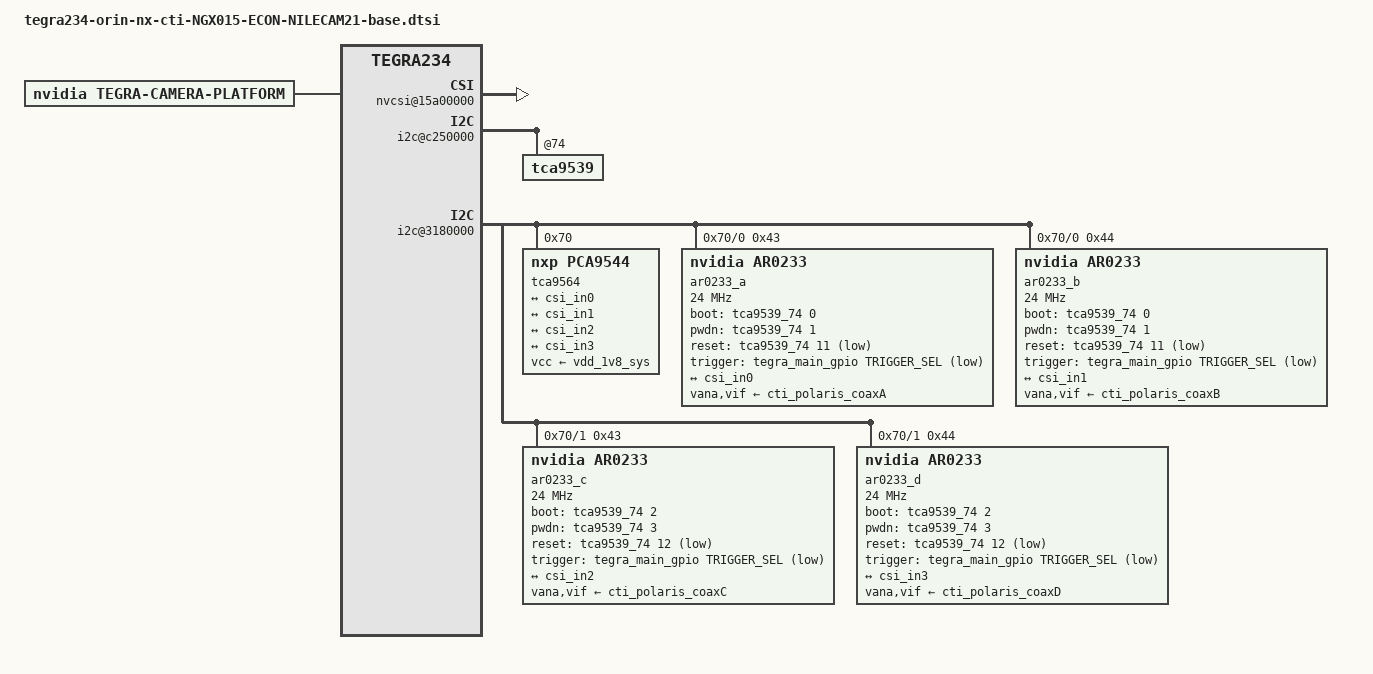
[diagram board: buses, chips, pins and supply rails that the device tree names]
/*
 * Copyright (c) 2022, Connect Tech Inc.  All rights reserved.
 *
 * This program is free software; you can redistribute it and/or modify it
 * under the terms and conditions of the GNU General Public License,
 * version 2, as published by the Free Software Foundation.
 *
 * This program is distributed in the hope it will be useful, but WITHOUT
 * ANY WARRANTY; without even the implied warranty of MERCHANTABILITY or
 * FITNESS FOR A PARTICULAR PURPOSE.  See the GNU General Public License for
 * more details.
 *
 * You should have received a copy of the GNU General Public License
 * along with this program.  If not, see <http://www.gnu.org/licenses/>.
 */

#include "dt-bindings/clock/tegra234-clock.h"

#define CAM_LANES 2
#define CAM_LANES_STRING "2"
 #define TRIGGER_SEL TEGRA234_MAIN_GPIO(I,0) //CAM0_RST

#define VC_ID0 "0"
#define VC_ID1 "1"
#define VC_ID0_PORTS 0 
#define VC_ID1_PORTS 1
/ {

    tegra-capture-vi {
        status = "okay";
        num-channels = <4>;
        ports {
	    #address-cells = <1>;
	    #size-cells = <0>;
	    status = "okay";
            port@0 {
		reg = <0>;
                status = "okay";
                vi_in0: endpoint {
		            vc-id = <VC_ID0_PORTS>;
                    port-index = <0>;
                    status = "okay";
                    bus-width = <4>;
		    remote-endpoint = <&csi_out0>;
                };
            };
            port@1 {
                status = "okay";
                reg = <1>;
                vi_in1: endpoint {
                    vc-id = <VC_ID1_PORTS>;
                    port-index = <0>;
                    status = "okay";
                    bus-width = <4>;
                    remote-endpoint = <&csi_out1>;
                };
            };
            port@2 {
                status = "okay";
                reg = <2>;
                vi_in2: endpoint {
                    vc-id = <VC_ID0_PORTS>;
                    port-index = <2>;
                    status = "okay";
                    bus-width = <4>;
                    remote-endpoint = <&csi_out2>;
                };
                
            };
            port@3 {
                status = "okay";
                reg = <3>;
                vi_in3: endpoint {
                    vc-id = <VC_ID1_PORTS>;
                    port-index = <2>;
                    status = "okay";
                    bus-width = <4>;
                    remote-endpoint = <&csi_out3>;
                };

            };


    };
    };

    host1x@13e00000 {
        nvcsi@15a00000 {
	    num-channels = <4>;
	    #address-cells = <1>;
	    #size-cells = <0>;
            status = "okay";
            channel@0 {
                status = "okay";
		        reg = <0>;
                ports {
		            #address-cells = <1>;
		            #size-cells = <0>;
                    port@0 {
                        status = "okay";
		            	reg = <0>;
                        csi_in0: endpoint@0 {
                            status = "okay";
                            port-index = <0>;
			                bus-width = <4>;
                            remote-endpoint = <&cam_out0>;
                        };
                    };
                    port@1 {
                        status = "okay";
		            	reg = <1>;
                        csi_out0: endpoint@1 {
                            status = "okay";
			                port-index = <0>;
			                bus-width = <4>;
			                remote-endpoint = <&vi_in0>;
                        };
                    };
                };
            };
            channel@1 {
                status = "okay";
            reg = <1>;
            ports {
                #address-cells = <1>;
                #size-cells = <0>;

                port@0 {
                            reg = <0>;
                            status = "okay";
                            csi_in1: endpoint@2 {
                                status = "okay";
                                port-index = <0>;
                                bus-width = <4>;
                                remote-endpoint = <&cam_out1>;
                            };
                        };
                        port@1 {
                            status = "okay";
                              reg = <1>;
                            csi_out1: endpoint@3 {
                                status = "okay";
                    port-index = <0>;
                    bus-width = <4>;
                    remote-endpoint = <&vi_in1>;
                            };
                        };
                    };
                };
            channel@2 {
                status = "okay";
            reg = <2>;
            ports {
                #address-cells = <1>;
                #size-cells = <0>;

                port@0 {
                            reg = <0>;
                            status = "okay";
                            csi_in2: endpoint@4 {
                                status = "okay";
                                port-index = <2>;
                                bus-width = <4>;
                                remote-endpoint = <&cam_out2>;
                            };
                        };
                        port@1 {
                            status = "okay";
                              reg = <1>;
                            csi_out2: endpoint@5 {
                                status = "okay";
                    port-index = <2>;
                    bus-width = <4>;
                    remote-endpoint = <&vi_in2>;
                            };
                        };
                    };
                };
            channel@3{
                status = "okay";
            reg = <3>;
            ports {
                #address-cells = <1>;
                #size-cells = <0>;

                port@0 {
                            reg = <0>;
                            status = "okay";
                            csi_in3: endpoint@6 {
                                status = "okay";
                                port-index = <2>;
                                bus-width = <4>;
                                remote-endpoint = <&cam_out3>;
                            };
                        };
                        port@1 {
                            status = "okay";
                              reg = <1>;
                            csi_out3: endpoint@7 {
                                status = "okay";
                    port-index = <2>;
                    bus-width = <4>;
                    remote-endpoint = <&vi_in3>;
                            };
                        };
                    };
                };

            };
    };
    i2c@c250000 {

        tca9539@74 {
            tca9539_74_outlow {
                status = "okay";
                gpio-hog;
                gpios = <0 0 1 0 2 0 3 0 4 0 9 0 10 0>;
                output-low;
                gpio-line-names = "RST_A","PWDN_A","RST_B","PWDN_B","TEMP_SNS_PEN", "CFG_CTRL_Nch", "CFG_CTRL_Pch";
            };
            tca9539_74_outhigh {
                status = "okay";
                gpio-hog;
                gpios = < 5 0 6 0 7 0 8 0 11 0 12 0>;
                output-high;
                gpio-line-names = "CAM_PRST#_A","CAM_PRST#_B","CAM_PRST#_C", "CAM_PRST#_D","DES_STATE_RSTA", "DES_STATE_RSTB";
            };
            tca9539_74_input {
                status = "disabled";
            };

        };
    };
    i2c@3180000 {
	status = "okay";
	#address-cells = <1>;
	#size-cells = <0>;
        tca9564@70 {
	    status = "okay";
	    compatible = "nxp,pca9544";
	    reg = <0x70>;
	    #address-cells = <1>;
	    #size-cells = <0>;
	    vcc-supply = <&vdd_1v8_sys>;
	    //skip_mux_detect;
	    force_bus_start = <0x28>;
       i2c@0 {
        status = "okay";
		reg = <0>;
		i2c-mux,deselect-on-exit;
		#address-cells = <1>;
		#size-cells = <0>;
		ar0233_a@43 {
			status = "okay";
			compatible = "nvidia,ar0233";
			reg = <0x43>;
			sensor_model = "ar0233";
			avdd-reg = "vana";
			iovdd-reg = "vif";
			clocks = <&bpmp_clks TEGRA234_CLK_EXTPERIPH1>,<&bpmp_clks TEGRA234_CLK_EXTPERIPH1>;
			clock-names = "extperiph1","pllp_grtba";
			mclk = "extperiph1";
			clock-frequency = <24000000>;
			boot-gpios = <&tca9539_74 0 GPIO_ACTIVE_HIGH>;
			pwdn-gpios = <&tca9539_74 1 GPIO_ACTIVE_HIGH>;
			reset-gpios = <&tca9539_74 11 GPIO_ACTIVE_LOW>;
            trigger-gpios = <&tegra_main_gpio TRIGGER_SEL GPIO_ACTIVE_LOW>;
			default-trigger = "internal";
			vana-supply = <&cti_polaris_coaxA>;
			vif-supply = <&cti_polaris_coaxA>;
			devnode = "video0";
			
			use_sensor_mode_id = "false";
			camera_mipi_lanes = <2>;
			camera-mipi-clk = <1200>;
			sio-port = "A";
			/*pwm-invert = <1>;
			pwm-duty_ns = <0x1CBC720>;
			pwm-period_ns = <0x2037FE7>;
			pwm-calib-gpio = <&tegra_main_gpio PWM_CALIB_GPIO GPIO_ACTIVE_HIGH>;
			pwm-name = "ecam-trigger";*/

#define LOCAL_VC_ID VC_ID0
#define TEGRA_SINTERFACE "serial_a"
#define LANE_POLARITY "6" //6
#include "nilecam21_cuxvr_mode.dtsi"


			ports {
				#address-cells = <1>;
				#size-cells = <0>;
				
				port@0 {
					reg = <0>;
					cam_out0: endpoint {
						status = "okay";
						vc-id = <VC_ID0_PORTS>;
						port-index = <0>;
						bus-width = <4>;
						remote-endpoint = <&csi_in0>;
					};
				};
			};	
		};

		ar0233_b@44 {
			status = "okay";
			compatible = "nvidia,ar0233";
			reg = <0x44>;
			sensor_model = "ar0233";
			avdd-reg = "vana";
			iovdd-reg = "vif";
			clocks = <&bpmp_clks TEGRA234_CLK_EXTPERIPH1>,<&bpmp_clks TEGRA234_CLK_EXTPERIPH1>;
			clock-names = "extperiph1","pllp_grtba";
			mclk = "extperiph1";
			clock-frequency = <24000000>;
			boot-gpios = <&tca9539_74 0 GPIO_ACTIVE_HIGH>;
			pwdn-gpios = <&tca9539_74 1 GPIO_ACTIVE_HIGH>;
			reset-gpios = <&tca9539_74 11 GPIO_ACTIVE_LOW>;
            trigger-gpios = <&tegra_main_gpio TRIGGER_SEL GPIO_ACTIVE_LOW>;
			default-trigger = "internal";
			vana-supply = <&cti_polaris_coaxB>;
			vif-supply = <&cti_polaris_coaxB>;
			devnode = "video1";
			
			use_sensor_mode_id = "false";
			camera_mipi_lanes = <2>;
			camera-mipi-clk = <1200>;
			sio-port = "B";
			/*pwm-invert = <1>;
			pwm-duty_ns = <0x1CBC720>;
			pwm-period_ns = <0x2037FE7>;
			pwm-calib-gpio = <&tegra_main_gpio PWM_CALIB_GPIO GPIO_ACTIVE_HIGH>;
			pwm-name = "ecam-trigger";*/
#undef TEGRA_SINTERFACE
#undef LOCAL_VC_ID
#undef LANE_POLARITY
#define LOCAL_VC_ID VC_ID1
#define TEGRA_SINTERFACE "serial_a"
#define LANE_POLARITY "6" 
#include "nilecam21_cuxvr_mode.dtsi"


			ports {
				#address-cells = <1>;
				#size-cells = <0>;
				
				port@0 {
					reg = <0>;
					cam_out1: endpoint {
						status = "okay";
						vc-id = <VC_ID1_PORTS>;
						port-index = <0>;
						bus-width = <4>;
						remote-endpoint = <&csi_in1>;
					};
				};
			};	
		};
            };

       i2c@1 {
        status = "okay";
		reg = <1>;
		i2c-mux,deselect-on-exit;
		#address-cells = <1>;
		#size-cells = <0>;
		ar0233_c@43 {
			status = "okay";
			compatible = "nvidia,ar0233";
			reg = <0x43>;
			sensor_model = "ar0233";
			avdd-reg = "vana";
			iovdd-reg = "vif";
			clocks = <&bpmp_clks TEGRA234_CLK_EXTPERIPH1>,<&bpmp_clks TEGRA234_CLK_EXTPERIPH1>;
			clock-names = "extperiph1","pllp_grtba";
			mclk = "extperiph1";
			clock-frequency = <24000000>;
			boot-gpios = <&tca9539_74 2 GPIO_ACTIVE_HIGH>;
			pwdn-gpios = <&tca9539_74 3 GPIO_ACTIVE_HIGH>;
			reset-gpios = <&tca9539_74 12 GPIO_ACTIVE_LOW>;
            trigger-gpios = <&tegra_main_gpio TRIGGER_SEL GPIO_ACTIVE_LOW>;
			default-trigger = "internal";
			vana-supply = <&cti_polaris_coaxC>;
			vif-supply = <&cti_polaris_coaxC>;
			devnode = "video2";
			
			use_sensor_mode_id = "false";
			camera_mipi_lanes = <2>;
			camera-mipi-clk = <1200>;
			sio-port = "A";
			/*pwm-invert = <1>;
			pwm-duty_ns = <0x1CBC720>;
			pwm-period_ns = <0x2037FE7>;
			pwm-calib-gpio = <&tegra_main_gpio PWM_CALIB_GPIO GPIO_ACTIVE_HIGH>;
			pwm-name = "ecam-trigger";*/
#undef TEGRA_SINTERFACE
#undef LOCAL_VC_ID
#undef LANE_POLARITY
#define LOCAL_VC_ID VC_ID0
#define TEGRA_SINTERFACE "serial_c"
#define LANE_POLARITY "0" 
#include "nilecam21_cuxvr_mode.dtsi"


			ports {
				#address-cells = <1>;
				#size-cells = <0>;
				
				port@0 {
					reg = <0>;
					cam_out2: endpoint {
						status = "okay";
						vc-id = <VC_ID0_PORTS>;
						port-index = <2>;
						bus-width = <4>;
						remote-endpoint = <&csi_in2>;
					};
				};
			};	
		};

		ar0233_d@44 {
			status = "okay";
			compatible = "nvidia,ar0233";
			reg = <0x44>;
			sensor_model = "ar0233";
			avdd-reg = "vana";
			iovdd-reg = "vif";
			clocks = <&bpmp_clks TEGRA234_CLK_EXTPERIPH1>,<&bpmp_clks TEGRA234_CLK_EXTPERIPH1>;
			clock-names = "extperiph1","pllp_grtba";
			mclk = "extperiph1";
			clock-frequency = <24000000>;
			boot-gpios = <&tca9539_74 2 GPIO_ACTIVE_HIGH>;
			pwdn-gpios = <&tca9539_74 3 GPIO_ACTIVE_HIGH>;
			reset-gpios = <&tca9539_74 12 GPIO_ACTIVE_LOW>;
            trigger-gpios = <&tegra_main_gpio TRIGGER_SEL GPIO_ACTIVE_LOW>;
			default-trigger = "internal";
			vana-supply = <&cti_polaris_coaxD>;
			vif-supply = <&cti_polaris_coaxD>;
			devnode = "video3";
			
			use_sensor_mode_id = "false";
			camera_mipi_lanes = <2>;
			camera-mipi-clk = <1200>;
			sio-port = "B";
			/*pwm-invert = <1>;
			pwm-duty_ns = <0x1CBC720>;
			pwm-period_ns = <0x2037FE7>;
			pwm-calib-gpio = <&tegra_main_gpio PWM_CALIB_GPIO GPIO_ACTIVE_HIGH>;
			pwm-name = "ecam-trigger";*/
#undef TEGRA_SINTERFACE
#undef LOCAL_VC_ID
#undef LANE_POLARITY
#define LOCAL_VC_ID VC_ID1
#define TEGRA_SINTERFACE "serial_c"
#define LANE_POLARITY "0" 
#include "nilecam21_cuxvr_mode.dtsi"


			ports {
				#address-cells = <1>;
				#size-cells = <0>;
				
				port@0 {
					reg = <0>;
					cam_out3: endpoint {
						status = "okay";
						vc-id = <VC_ID1_PORTS>;
						port-index = <2>;
						bus-width = <4>;
						remote-endpoint = <&csi_in3>;
					};
				};
			};	
		};
            };
    };
    };



    tegra-camera-platform {
        num_csi_lanes = <8>;
        max_lane_speed = <1500000>;
        min_bits_per_pixel = <10>;
        vi_peak_byte_per_pixel = <2>;
        vi_bw_margin_pct = <25>;
        isp_peak_byte_per_pixel = <5>;
        isp_bw_margin_pct = <25>;
	compatible = "nvidia, tegra-camera-platform";
	status = "okay";
        
	modules {
            module0 {
                status = "okay";
	        	badge = "ar0233_a";
		        orientation = "1";
		        position = "rear1"; 
                 drivernode0 {
                    status = "okay";
                    pcl_id = "v4l2_sensor";
                    devname = "ar0233_a 40-0043";
                    proc-device-tree = "/proc/device-tree/i2c@3180000/tca9564@70/i2c@0/ar0233_a@43";
                };
            };
            module1 {
                status = "okay";
	        	badge = "ar0233_b";
		        orientation = "1";
		        position = "rear2"; 
                 drivernode0 {
                    status = "okay";
                    pcl_id = "v4l2_sensor";
                    devname = "ar0233_b 40-0044";
                    proc-device-tree = "/proc/device-tree/i2c@3180000/tca9564@70/i2c@0/ar0233_b@44";
                };
            };
            module2 {
                status = "okay";
	        	badge = "ar0233_c";
		        orientation = "1";
		        position = "rear3"; 
                 drivernode0 {
                    status = "okay";
                    pcl_id = "v4l2_sensor";
                    devname = "ar0233_a 41-0043";
                    proc-device-tree = "/proc/device-tree/i2c@3180000/tca9564@70/i2c@1/ar0233_c@43";
                };
            };
            module3 {
                status = "okay";
	        	badge = "ar0233_d";
		        orientation = "1";
		        position = "rear4"; 
                 drivernode0 {
                    status = "okay";
                    pcl_id = "v4l2_sensor";
                    devname = "ar0233_b 41-0044";
                    proc-device-tree = "/proc/device-tree/i2c@3180000/tca9564@70/i2c@1/ar0233_d@44";
                };
            };
        };
    };
};
